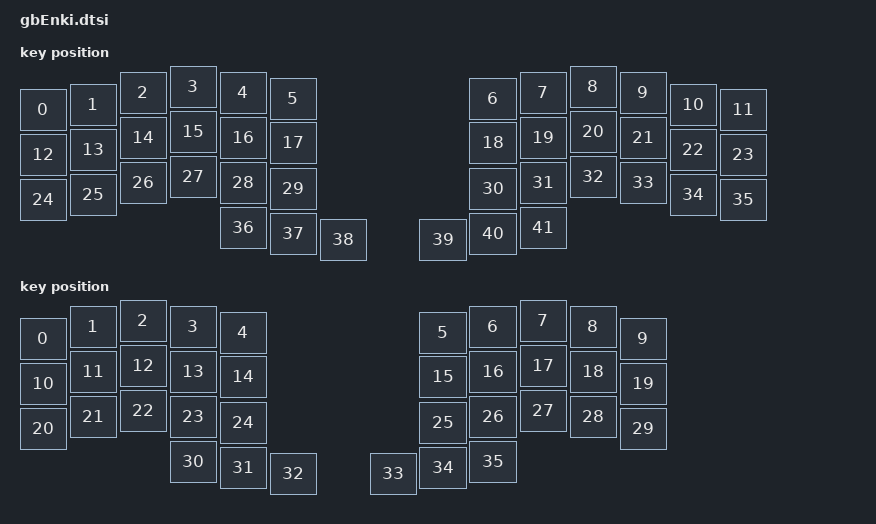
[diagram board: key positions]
#include <physical_layouts.dtsi>

/ {
    default_layout: default_layout {
        compatible = "zmk,physical-layout";
        display-name = "6 Column";

        kscan = <&kscan_0>;
        transform = <&six_column_transform>;

        keys  //                     w   h    x    y     rot    rx    ry
            = <&key_physical_attrs 100  90    0   47       0     0     0>
            , <&key_physical_attrs 100  90  100   37       0     0     0>
            , <&key_physical_attrs 100  90  200   12       0     0     0>
            , <&key_physical_attrs 100  90  300    0       0     0     0>
            , <&key_physical_attrs 100  90  400   12       0     0     0>
            , <&key_physical_attrs 100  90  500   24       0     0     0>
            , <&key_physical_attrs 100  90  900   24       0     0     0>
            , <&key_physical_attrs 100  90 1000   12       0     0     0>
            , <&key_physical_attrs 100  90 1100    0       0     0     0>
            , <&key_physical_attrs 100  90 1200   12       0     0     0>
            , <&key_physical_attrs 100  90 1300   37       0     0     0>
            , <&key_physical_attrs 100  90 1400   47       0     0     0>
            , <&key_physical_attrs 100  90    0  137       0     0     0>
            , <&key_physical_attrs 100  90  100  127       0     0     0>
            , <&key_physical_attrs 100  90  200  102       0     0     0>
            , <&key_physical_attrs 100  90  300   90       0     0     0>
            , <&key_physical_attrs 100  90  400  102       0     0     0>
            , <&key_physical_attrs 100  90  500  112       0     0     0>
            , <&key_physical_attrs 100  90  900  112       0     0     0>
            , <&key_physical_attrs 100  90 1000  102       0     0     0>
            , <&key_physical_attrs 100  90 1100   90       0     0     0>
            , <&key_physical_attrs 100  90 1200  102       0     0     0>
            , <&key_physical_attrs 100  90 1300  127       0     0     0>
            , <&key_physical_attrs 100  90 1400  137       0     0     0>
            , <&key_physical_attrs 100  90    0  227       0     0     0>
            , <&key_physical_attrs 100  90  100  217       0     0     0>
            , <&key_physical_attrs 100  90  200  192       0     0     0>
            , <&key_physical_attrs 100  90  300  180       0     0     0>
            , <&key_physical_attrs 100  90  400  192       0     0     0>
            , <&key_physical_attrs 100  90  500  204       0     0     0>
            , <&key_physical_attrs 100  90  900  204       0     0     0>
            , <&key_physical_attrs 100  90 1000  192       0     0     0>
            , <&key_physical_attrs 100  90 1100  180       0     0     0>
            , <&key_physical_attrs 100  90 1200  192       0     0     0>
            , <&key_physical_attrs 100  90 1300  217       0     0     0>
            , <&key_physical_attrs 100  90 1400  227       0     0     0>
            , <&key_physical_attrs 100  90  400  282       0     0     0>
            , <&key_physical_attrs 100  90  500  294       0     0     0>
            , <&key_physical_attrs 100  90  600  306       0     0     0>
            , <&key_physical_attrs 100  90  800  306       0     0     0>
            , <&key_physical_attrs 100  90  900  294       0     0     0>
            , <&key_physical_attrs 100  90 1000  282       0     0     0>
            ;
    };

    five_col_layout: five_col_layout {
        compatible = "zmk,physical-layout";
        display-name = "5 Column";

        kscan = <&kscan_1>;
        transform = <&five_column_transform>;

        keys  //                     w   h    x    y     rot    rx    ry
            = <&key_physical_attrs 100  90    0   37       0     0     0>
            , <&key_physical_attrs 100  90  100   12       0     0     0>
            , <&key_physical_attrs 100  90  200    0       0     0     0>
            , <&key_physical_attrs 100  90  300   12       0     0     0>
            , <&key_physical_attrs 100  90  400   24       0     0     0>
            , <&key_physical_attrs 100  90  800   24       0     0     0>
            , <&key_physical_attrs 100  90  900   12       0     0     0>
            , <&key_physical_attrs 100  90 1000    0       0     0     0>
            , <&key_physical_attrs 100  90 1100   12       0     0     0>
            , <&key_physical_attrs 100  90 1200   37       0     0     0>
            , <&key_physical_attrs 100  90    0  127       0     0     0>
            , <&key_physical_attrs 100  90  100  102       0     0     0>
            , <&key_physical_attrs 100  90  200   90       0     0     0>
            , <&key_physical_attrs 100  90  300  102       0     0     0>
            , <&key_physical_attrs 100  90  400  112       0     0     0>
            , <&key_physical_attrs 100  90  800  112       0     0     0>
            , <&key_physical_attrs 100  90  900  102       0     0     0>
            , <&key_physical_attrs 100  90 1000   90       0     0     0>
            , <&key_physical_attrs 100  90 1100  102       0     0     0>
            , <&key_physical_attrs 100  90 1200  127       0     0     0>
            , <&key_physical_attrs 100  90    0  217       0     0     0>
            , <&key_physical_attrs 100  90  100  192       0     0     0>
            , <&key_physical_attrs 100  90  200  180       0     0     0>
            , <&key_physical_attrs 100  90  300  192       0     0     0>
            , <&key_physical_attrs 100  90  400  204       0     0     0>
            , <&key_physical_attrs 100  90  800  204       0     0     0>
            , <&key_physical_attrs 100  90  900  192       0     0     0>
            , <&key_physical_attrs 100  90 1000  180       0     0     0>
            , <&key_physical_attrs 100  90 1100  192       0     0     0>
            , <&key_physical_attrs 100  90 1200  217       0     0     0>
            , <&key_physical_attrs 100  90  300  282       0     0     0>
            , <&key_physical_attrs 100  90  400  294       0     0     0>
            , <&key_physical_attrs 100  90  500  306       0     0     0>
            , <&key_physical_attrs 100  90  700  306       0     0     0>
            , <&key_physical_attrs 100  90  800  294       0     0     0>
            , <&key_physical_attrs 100  90  900  282       0     0     0>
            ;
    };

    gbenki_position_map {
        compatible = "zmk,physical-layout-position-map";

        complete;

        twelve {
            physical-layout = <&default_layout>;
            positions
                = < 0  1  2  3  4  5  6  7  8  9 10 11>
                , <12 13 14 15 16 17 18 19 20 21 22 23>
                , <24 25 26 27 28 29 30 31 32 33 34 35>
                , <         36 37 38 39 40 41         >;
        };

        ten {
            physical-layout = <&five_col_layout>;
            positions
                = <36  0  1  2  3  4  5  6  7  8  9 37>
                , <38 10 11 12 13 14 15 16 17 18 19 39>
                , <40 20 21 22 23 24 25 26 27 28 29 41>
                , <         30 31 32 33 34 35         >;
        };
    };
};
